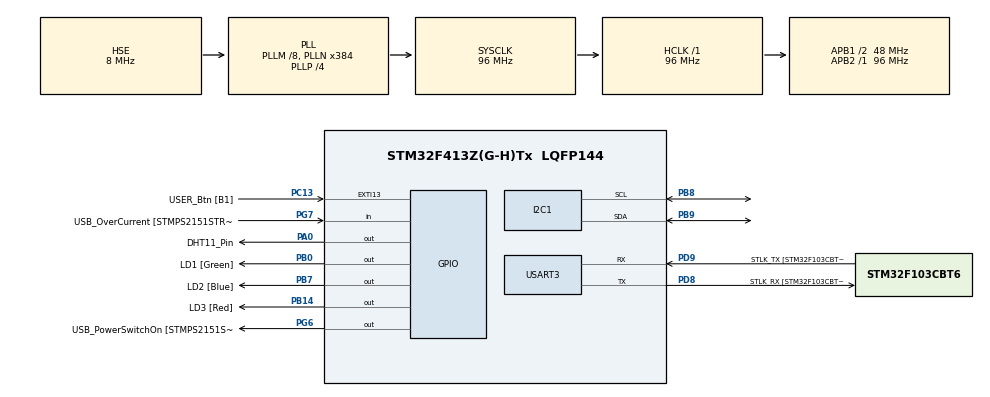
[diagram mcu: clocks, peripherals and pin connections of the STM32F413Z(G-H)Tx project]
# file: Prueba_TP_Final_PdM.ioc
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Mcu.Family=STM32F4
Mcu.Name=STM32F413Z(G-H)Tx
Mcu.Package=LQFP144
NVIC.PriorityGroup=NVIC_PRIORITYGROUP_4
PA0.GPIO_Label=DHT11_Pin
PA0.Signal=GPIO_Output
PA10.GPIO_Label=USB_ID
PA10.Signal=USB_OTG_FS_ID
PA11.GPIO_Label=USB_DM
PA11.Signal=USB_OTG_FS_DM
PA12.GPIO_Label=USB_DP
PA12.Signal=USB_OTG_FS_DP
PA13.GPIO_Label=TMS
PA13.Mode=Serial_Wire
PA13.Signal=SYS_JTMS-SWDIO
PA14.GPIO_Label=TCK
PA14.Mode=Serial_Wire
PA14.Signal=SYS_JTCK-SWCLK
PA8.GPIO_Label=USB_SOF [TP1]
PA8.Signal=USB_OTG_FS_SOF
PA9.GPIO_Label=USB_VBUS
PA9.Signal=USB_OTG_FS_VBUS
PB0.GPIO_Label=LD1 [Green]
PB0.Signal=GPIO_Output
PB14.GPIO_Label=LD3 [Red]
PB14.Signal=GPIO_Output
PB3.GPIO_Label=SWO
PB3.Signal=SYS_JTDO-SWO
PB7.GPIO_Label=LD2 [Blue]
PB7.Signal=GPIO_Output
PB8.Mode=I2C
PB8.Signal=I2C1_SCL
PB9.Mode=I2C
PB9.Signal=I2C1_SDA
PC13.GPIO_Label=USER_Btn [B1]
PC13.Signal=GPXTI13
PC14-OSC32_IN.Mode=LSE-External-Oscillator
PC14-OSC32_IN.Signal=RCC_OSC32_IN
PC15-OSC32_OUT.Mode=LSE-External-Oscillator
PC15-OSC32_OUT.Signal=RCC_OSC32_OUT
PD8.GPIO_Label=STLK_RX [STM32F103CBT6_PA3]
PD8.Mode=Asynchronous
PD8.Signal=USART3_TX
PD9.GPIO_Label=STLK_TX [STM32F103CBT6_PA2]
PD9.Mode=Asynchronous
PD9.Signal=USART3_RX
PG6.GPIO_Label=USB_PowerSwitchOn [STMPS2151STR_EN]
PG6.Signal=GPIO_Output
PG7.GPIO_Label=USB_OverCurrent [STMPS2151STR_FAULT]
PG7.Signal=GPIO_Input
PH0\ -\ OSC_IN.GPIO_Label=MCO
PH0\ -\ OSC_IN.Mode=HSE-External-Clock-Source
PH0\ -\ OSC_IN.Signal=RCC_OSC_IN
PH1\ -\ OSC_OUT.Mode=HSE-External-Clock-Source
PH1\ -\ OSC_OUT.Signal=RCC_OSC_OUT
ProjectManager.HeapSize=0x200
ProjectManager.StackSize=0x400
ProjectManager.TargetToolchain=STM32CubeIDE
RCC.48MHZClocksFreq_Value=24000000
RCC.AHBFreq_Value=96000000
RCC.APB1CLKDivider=RCC_HCLK_DIV2
RCC.APB1Freq_Value=48000000
RCC.APB1TimFreq_Value=96000000
RCC.APB2Freq_Value=96000000
RCC.APB2TimFreq_Value=96000000
RCC.CortexFreq_Value=96000000
RCC.HCLKFreq_Value=96000000
RCC.HSE_VALUE=8000000
RCC.HSI_VALUE=16000000
RCC.PLLM=8
RCC.PLLMUL=RCC_PLL_MUL9
RCC.PLLN=384
RCC.PLLP=RCC_PLLP_DIV4
RCC.PLLQ=8
RCC.PLLSourceVirtual=RCC_PLLSOURCE_HSE
RCC.PRESCALERUSB=RCC_USBCLKSOURCE_PLL_DIV1_5
RCC.SYSCLKFreq_VALUE=96000000
RCC.SYSCLKSource=RCC_SYSCLKSOURCE_PLLCLK
RCC.SYSCLKSourceVirtual=RCC_SYSCLKSOURCE_PLLCLK
RCC.USBFreq_Value=48000000
RCC.VCOOutputFreq_Value=384000000
USART3.VirtualMode=VM_ASYNC
board=NUCLEO-F413ZH

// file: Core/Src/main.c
/* USER CODE BEGIN Header */
/**
  ******************************************************************************
  * @file           : main.c
  * @brief          : Main program body Prueba_TP_Final_PdM
  ******************************************************************************
  * @attention
  *
  * Copyright (c) 2023 STMicroelectronics.
  * All rights reserved.
  *
  * This software is licensed under terms that can be found in the LICENSE file
  * in the root directory of this software component.
  * If no LICENSE file comes with this software, it is provided AS-IS.
  *
  ******************************************************************************
  */
/* USER CODE END Header */
#include "main.h"

/* USER CODE BEGIN PD */
#define LED1 LD1_Pin //GREEN LED
#define LED2 LD2_Pin //BLUE LED
#define LED3 LD3_Pin //RED LED
/* USER CODE END PD */

I2C_HandleTypeDef hi2c1;

UART_HandleTypeDef huart3;

void SystemClock_Config(void);

static void MX_USART3_UART_Init(void);
static void MX_I2C1_Init(void);

/* USER CODE BEGIN 0 */
/* DEFINE THE DHT DataTypedef
* Look in the API_DHT11.h for the definition
*/
DHT_DataTypedef DHT11_Data;
float Temperature, Humidity;

/* USER CODE END 0 */

int main(void)
{

  /* MCU Configuration--------------------------------------------------------*/

  /* Reset of all peripherals, Initializes the Flash interface and the Systick. */
  HAL_Init();

  /* Configure the system clock */
  SystemClock_Config();

  /* Initialize all configured peripherals */
  MX_GPIO_Init();
  MX_USART3_UART_Init();
  MX_I2C1_Init();
  /* USER CODE BEGIN 2 */
  lcd_init();
  HAL_Delay(1);
  lcd_clear();
  HAL_Delay(1);
  lcd_put_cur(0, 0);
  HAL_Delay(1);
  lcd_send_string("Hola Quique");
  HAL_Delay(1);
  /* USER CODE END 2 */

  /* Infinite loop */
  while (1)
  {
	writeLedOn_GPIO(LED1);
	HAL_Delay(100);
	toggleLed_GPIO(LED2);
	HAL_Delay(150);

    /* USER CODE BEGIN 3 */
	DHT_GetData(&DHT11_Data);
	Temperature = DHT11_Data.Temperature;
	Humidity = DHT11_Data.Humidity;
	lcd_clear();
	HAL_Delay(1);
	lcd_put_cur(0, 0);
	HAL_Delay(1);
	lcd_send_string("Temperatura ");
	lcd_send_data(Temperature);
	lcd_send_string("'°'C");
	HAL_Delay(1);
	lcd_put_cur(1, 0); //(row , col)
	HAL_Delay(1);
	lcd_send_string("Humedad RH ");
	lcd_send_data(Humidity);
	lcd_send_string("'%'");
	HAL_Delay(3000);
  }
  /* USER CODE END 3 */
}

void SystemClock_Config(void)
{
  RCC_OscInitTypeDef RCC_OscInitStruct = {0};
  RCC_ClkInitTypeDef RCC_ClkInitStruct = {0};

  /** Configure the main internal regulator output voltage
  */
  __HAL_RCC_PWR_CLK_ENABLE();
  __HAL_PWR_VOLTAGESCALING_CONFIG(PWR_REGULATOR_VOLTAGE_SCALE1);

  /** Initializes the RCC Oscillators according to the specified parameters
  * in the RCC_OscInitTypeDef structure.
  */
  RCC_OscInitStruct.OscillatorType = RCC_OSCILLATORTYPE_HSE;
  RCC_OscInitStruct.HSEState = RCC_HSE_BYPASS;
  RCC_OscInitStruct.PLL.PLLState = RCC_PLL_ON;
  RCC_OscInitStruct.PLL.PLLSource = RCC_PLLSOURCE_HSE;
  RCC_OscInitStruct.PLL.PLLM = 8;
  RCC_OscInitStruct.PLL.PLLN = 384;
  RCC_OscInitStruct.PLL.PLLP = RCC_PLLP_DIV4;
  RCC_OscInitStruct.PLL.PLLQ = 8;
  RCC_OscInitStruct.PLL.PLLR = 2;
  if (HAL_RCC_OscConfig(&RCC_OscInitStruct) != HAL_OK)
  {
    Error_Handler();
  }

  /** Initializes the CPU, AHB and APB buses clocks
  */
  RCC_ClkInitStruct.ClockType = RCC_CLOCKTYPE_HCLK|RCC_CLOCKTYPE_SYSCLK
                              |RCC_CLOCKTYPE_PCLK1|RCC_CLOCKTYPE_PCLK2;
  RCC_ClkInitStruct.SYSCLKSource = RCC_SYSCLKSOURCE_PLLCLK;
  RCC_ClkInitStruct.AHBCLKDivider = RCC_SYSCLK_DIV1;
  RCC_ClkInitStruct.APB1CLKDivider = RCC_HCLK_DIV2;
  RCC_ClkInitStruct.APB2CLKDivider = RCC_HCLK_DIV1;

  if (HAL_RCC_ClockConfig(&RCC_ClkInitStruct, FLASH_LATENCY_3) != HAL_OK)
  {
    Error_Handler();
  }
}

static void MX_I2C1_Init(void)
{

  hi2c1.Instance = I2C1;
  hi2c1.Init.ClockSpeed = 100000;
  hi2c1.Init.DutyCycle = I2C_DUTYCYCLE_2;
  hi2c1.Init.OwnAddress1 = 0;
  hi2c1.Init.AddressingMode = I2C_ADDRESSINGMODE_7BIT;
  hi2c1.Init.DualAddressMode = I2C_DUALADDRESS_DISABLE;
  hi2c1.Init.OwnAddress2 = 0;
  hi2c1.Init.GeneralCallMode = I2C_GENERALCALL_DISABLE;
  hi2c1.Init.NoStretchMode = I2C_NOSTRETCH_DISABLE;
  if (HAL_I2C_Init(&hi2c1) != HAL_OK)
  {
    Error_Handler();
  }

}

static void MX_USART3_UART_Init(void)
{

  huart3.Instance = USART3;
  huart3.Init.BaudRate = 115200;
  huart3.Init.WordLength = UART_WORDLENGTH_8B;
  huart3.Init.StopBits = UART_STOPBITS_1;
  huart3.Init.Parity = UART_PARITY_NONE;
  huart3.Init.Mode = UART_MODE_TX_RX;
  huart3.Init.HwFlowCtl = UART_HWCONTROL_NONE;
  huart3.Init.OverSampling = UART_OVERSAMPLING_16;
  if (HAL_UART_Init(&huart3) != HAL_OK)
  {
    Error_Handler();
  }

}

void Error_Handler(void)
{
  __disable_irq();
  while (1)
  {
  }
}
